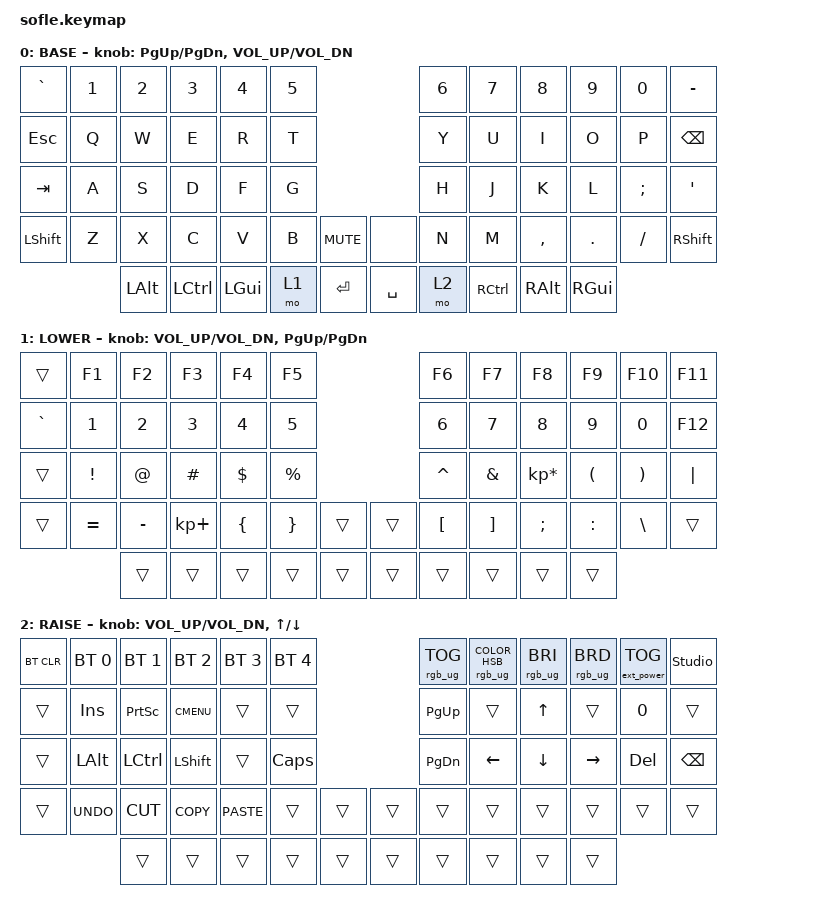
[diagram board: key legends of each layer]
/*
 * Copyright (c) 2020 The ZMK Contributors
 *
 * SPDX-License-Identifier: MIT
 */

#include <behaviors.dtsi>
#include <dt-bindings/zmk/keys.h>
#include <dt-bindings/zmk/bt.h>
#include <dt-bindings/zmk/rgb.h>
#include <dt-bindings/zmk/ext_power.h>

// RGB underglow devicetree (spi3, led_strip, chosen zmk,underglow) is
// no longer hand-rolled here - mainline ZMK's sofle shield already
// ships boards/nice_nano_nrf52840_zmk.overlay with exactly this wiring
// for the board variant used in build.yaml (nice_nano//zmk). See
// NOTES.md.

/ {
    /* Set resolution for PEC11R-4015F-S0024 smooth encoders */
    sensors {
        compatible = "zmk,keymap-sensors";
        sensors = <&left_encoder &right_encoder>;
        triggers-per-rotation = <24>;
    };

    keymap {
        compatible = "zmk,keymap";

        // display-name is what the nice!oled layer widget renders. Without
        // it the widget draws an empty string and looks disabled: ZMK's
        // LAYER_NAME macro is
        //   DT_PROP_OR(node, display_name, DT_PROP_OR(node, label, ""))
        // so an unnamed layer yields "" rather than NULL, and nice!oled's
        // layer.c only falls back to "Layer %i" on NULL. Keep these at 9
        // chars or fewer - the widget strncpy's into a char[10].
        default_layer {
            display-name = "BASE";
// ------------------------------------------------------------------------------------------------------------
// |  `    |  1  |  2  |  3   |  4   |  5   |                    |  6   |  7    |  8    |  9   |   0   |   -   |
// |  ESC  |  Q  |  W  |  E   |  R   |  T   |                    |  Y   |  U    |  I    |  O   |   P   | BKSPC |
// |  TAB  |  A  |  S  |  D   |  F   |  G   |                    |  H   |  J    |  K    |  L   |   ;   |   '   |
// | SHIFT |  Z  |  X  |  C   |  V   |  B   |  MUTE  |  |        |  N   |  M    |  ,    |  .   |   /   | SHIFT |
//               | ALT | CTRL | GUI  | LOWER|  ENTER |  | SPACE  | RAISE| CTRL  | ALT   | GUI  |
            bindings = <
&kp GRAVE &kp N1 &kp N2   &kp N3    &kp N4    &kp N5                      &kp N6 &kp N7    &kp N8    &kp N9   &kp N0   &kp MINUS
&kp ESC   &kp Q  &kp W    &kp E     &kp R     &kp T                       &kp Y  &kp U     &kp I     &kp O    &kp P    &kp BSPC
&kp TAB   &kp A  &kp S    &kp D     &kp F     &kp G                       &kp H  &kp J     &kp K     &kp L    &kp SEMI &kp SQT
&kp LSHFT &kp Z  &kp X    &kp C     &kp V     &kp B  &kp C_MUTE &none     &kp N  &kp M     &kp COMMA &kp DOT  &kp FSLH &kp RSHFT
                 &kp LALT &kp LCTRL &kp LGUI  &mo 1  &kp RET    &kp SPACE &mo 2  &kp RCTRL &kp RALT  &kp RGUI
            >;

            sensor-bindings = <&inc_dec_kp PG_UP PG_DN &inc_dec_kp C_VOL_UP C_VOL_DN>;
        };

        lower_layer {
            display-name = "LOWER";
// ------------------------------------------------------------------------------------------------------------
// |       |  F1 |  F2 |  F3  |  F4  |  F5  |                    |  F6  |  F7   |  F8   |  F9  |  F10  |  F11  |
// | `     |   1 |   2 |   3  |   4  |   5  |                    |   6  |   7   |   8   |   9  |    0  |  F12  |
// |       |  !  |  @  |  #   |  $   |  %   |                    |  ^   |  &    |  *    |  (   |   )   |   |   |
// |       |  =  |  -  |  +   |  {   |  }   |        |  |        |  [   |  ]    |  ;    |  :   |   \   |       |
//               |     |      |      |      |        |  |        |      |       |       |      |
            bindings = <
&trans    &kp F1    &kp F2    &kp F3      &kp F4    &kp F5                    &kp F6    &kp F7   &kp F8          &kp F9    &kp F10   &kp F11
&kp GRAVE &kp N1    &kp N2    &kp N3      &kp N4    &kp N5                    &kp N6    &kp N7   &kp N8          &kp N9    &kp N0    &kp F12
&trans    &kp EXCL  &kp AT    &kp HASH    &kp DLLR  &kp PRCNT                 &kp CARET &kp AMPS &kp KP_MULTIPLY &kp LPAR  &kp RPAR  &kp PIPE
&trans    &kp EQUAL &kp MINUS &kp KP_PLUS &kp LBRC  &kp RBRC  &trans   &trans &kp LBKT  &kp RBKT &kp SEMI        &kp COLON &kp BSLH  &trans
                    &trans    &trans      &trans    &trans    &trans   &trans &trans    &trans   &trans          &trans
            >;

            sensor-bindings = <&inc_dec_kp C_VOL_UP C_VOL_DN &inc_dec_kp PG_UP PG_DN>;
        };

        raise_layer {
            display-name = "RAISE";
// ------------------------------------------------------------------------------------------------------------
// |BTCLR| BT1  | BT2  |  BT3  |  BT4  |  BT5 |                |RGB_TOG|PURPLE|RGB_BRI|RGB_BRD| EXT_PWR|UNLOCK |
// |     | INS  | PSCR | GUI   |       |      |                | PGUP  |      |   ^   |      |       |       |
// |     | ALT  | CTRL | SHIFT |       | CAPS |                | PGDN  |  <-  |   v   |  ->  |  DEL  | BKSPC |
// |     | UNDO | CUT  | COPY  | PASTE |      |      |  |      |       |      |       |      |       |       |
//              |      |       |       |      |      |  |      |       |      |       |      |
            bindings = <
&bt BT_CLR &bt BT_SEL 0 &bt BT_SEL 1 &bt BT_SEL 2 &bt BT_SEL 3 &bt BT_SEL 4         &rgb_ug RGB_TOG &rgb_ug RGB_COLOR_HSB(292,71,51) &rgb_ug RGB_BRI &rgb_ug RGB_BRD &ext_power EP_TOG &studio_unlock
&trans     &kp INS      &kp PSCRN    &kp K_CMENU  &trans       &trans               &kp PG_UP       &trans                       &kp UP          &trans          &kp N0          &trans
&trans     &kp LALT     &kp LCTRL    &kp LSHFT    &trans       &kp CLCK             &kp PG_DN       &kp LEFT                     &kp DOWN        &kp RIGHT       &kp DEL         &kp BSPC
&trans     &kp K_UNDO   &kp K_CUT    &kp K_COPY   &kp K_PASTE  &trans &trans &trans &trans          &trans                       &trans          &trans          &trans          &trans
                        &trans       &trans       &trans       &trans &trans &trans &trans          &trans                       &trans          &trans
            >;

            sensor-bindings = <&inc_dec_kp C_VOL_UP C_VOL_DN &inc_dec_kp UP_ARROW DOWN_ARROW>;
        };
    };
};
